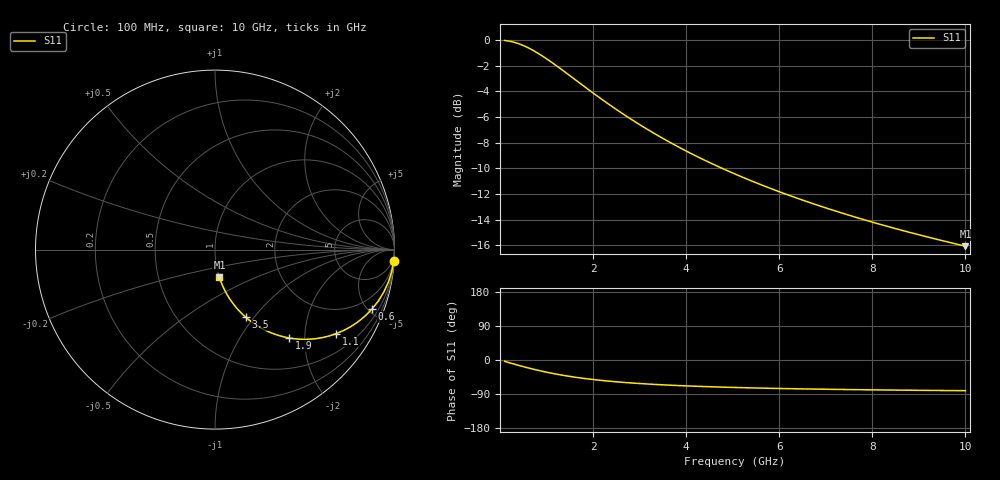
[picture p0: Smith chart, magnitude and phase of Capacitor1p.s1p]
! Created Tue Apr  6 18:30:13 2021
# ghz S ri R 50
! 1 Port Network Data from SP1.SP block
! freq  reS11  imS11
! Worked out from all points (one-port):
!   100 points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, 100 MHz to 10 GHz, reference 50 ohm
!   lowest |S11| = -16.1 dB at 10 GHz (marker M1), VSWR 1.37, Z = 50 - j15.9 ohm
!   |S11| at or under -10 dB: 4.775 GHz to end of sweep
!   S11 on the Smith chart (normalised r, x): 100 MHz: 1, -32; 600 MHz: 1.00, -5.31; 1.1 GHz: 1.00, -2.89; 1.9 GHz: 1.00, -1.68; 3.5 GHz: 1.00, -0.91; 10 GHz: 1.00, -0.32
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0.1  0.9961 -0.0626
0.2  0.9845 -0.1237
0.3  0.9657 -0.182
0.4  0.9406 -0.2364
0.5  0.9102 -0.2859
0.6  0.8756 -0.3301
0.7  0.8379 -0.3685
0.8  0.7983 -0.4013
0.9  0.7577 -0.4285
1  0.717 -0.4505
1.1  0.6767 -0.4677
1.2  0.6376 -0.4807
1.4  0.5638 -0.4959
1.6  0.4974 -0.5
1.9  0.4123 -0.4923
2.2  0.3436 -0.4749
2.4  0.3054 -0.4606
2.6  0.2726 -0.4453
3  0.2196 -0.414
3.5  0.1713 -0.3768
3.9  0.1428 -0.3498
4.5  0.1112 -0.3144
5.1  0.0887 -0.2844
5.7  0.0723 -0.259
6.3  0.06 -0.2375
7.6  0.042 -0.2006
8.8  0.0317 -0.1751
10  0.0247 -0.1552
